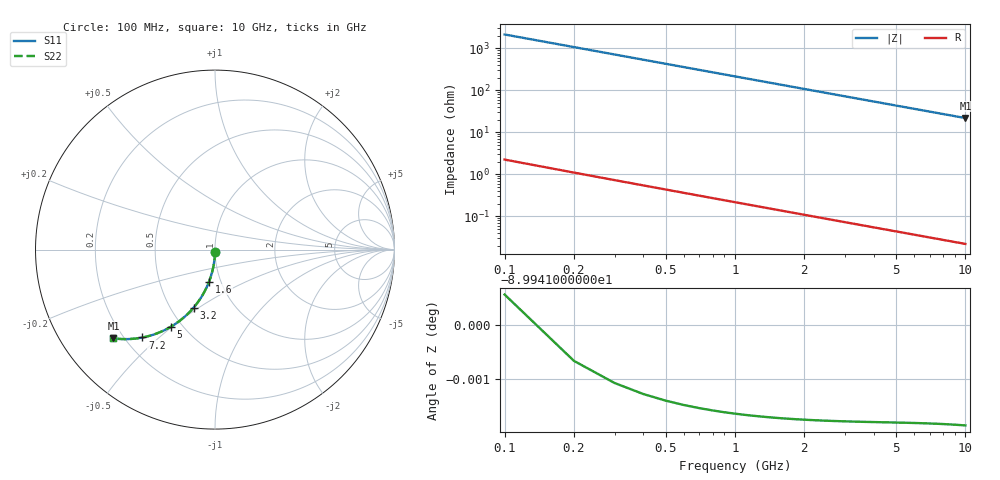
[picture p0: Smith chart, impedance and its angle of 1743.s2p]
# Hz S RI R 50.00
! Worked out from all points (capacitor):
!   100 points, 100 MHz to 10 GHz, reference 50 ohm
!   read as one part in shunt: C = 738 fF near 100 MHz
!   lowest |Z| = 21.9 ohm at 10 GHz (marker M1)
!   S11 on the Smith chart (normalised r, x): 100 MHz: 1.00, -0.02; 1.6 GHz: 0.88, -0.32; 3.2 GHz: 0.65, -0.48; 5 GHz: 0.43, -0.49; 7.2 GHz: 0.27, -0.44; 10 GHz: 0.16, -0.37
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1e8  -0.000145 -0.0116  0.9999 -0.0116  0.9999 -0.0116  -0.000145 -0.0116
2e8  -0.000558 -0.0231  0.9994 -0.0232  0.9994 -0.0232  -0.000558 -0.0231
3e8  -0.00124 -0.0347  0.9988 -0.0347  0.9988 -0.0347  -0.00124 -0.0347
4e8  -0.00219 -0.0462  0.9978 -0.0463  0.9978 -0.0463  -0.00219 -0.0462
5e8  -0.0034 -0.0577  0.9966 -0.0577  0.9966 -0.0577  -0.0034 -0.0577
6e8  -0.00487 -0.0691  0.9951 -0.0692  0.9951 -0.0692  -0.00487 -0.0691
7e8  -0.0066 -0.0804  0.9934 -0.0806  0.9934 -0.0806  -0.0066 -0.0804
9e8  -0.0108 -0.1029  0.9892 -0.1031  0.9892 -0.1031  -0.0108 -0.1029
1.2e9  -0.019 -0.136  0.981 -0.1362  0.981 -0.1362  -0.019 -0.136
1.6e9  -0.0332 -0.1786  0.9668 -0.1788  0.9668 -0.1788  -0.0332 -0.1786
1.8e9  -0.0416 -0.199  0.9584 -0.1993  0.9584 -0.1993  -0.0416 -0.199
2.4e9  -0.0714 -0.2567  0.9286 -0.2572  0.9286 -0.2572  -0.0714 -0.2567
2.8e9  -0.0945 -0.2918  0.9055 -0.2923  0.9055 -0.2923  -0.0945 -0.2918
3.2e9  -0.1197 -0.3239  0.8803 -0.3244  0.8803 -0.3244  -0.1197 -0.3239
3.4e9  -0.133 -0.3388  0.867 -0.3393  0.867 -0.3393  -0.133 -0.3388
4.2e9  -0.1891 -0.3907  0.8109 -0.3914  0.8109 -0.3914  -0.1891 -0.3907
5e9  -0.2478 -0.4308  0.7522 -0.4317  0.7522 -0.4317  -0.2478 -0.4308
5.1e9  -0.2552 -0.435  0.7448 -0.4359  0.7448 -0.4359  -0.2552 -0.435
6.7e9  -0.3704 -0.4818  0.6296 -0.483  0.6296 -0.483  -0.3704 -0.4818
7.2e9  -0.4042 -0.4896  0.5958 -0.4909  0.5958 -0.4909  -0.4042 -0.4896
8.4e9  -0.4794 -0.4983  0.5206 -0.4998  0.5206 -0.4998  -0.4794 -0.4983
1e10  -0.5655 -0.4943  0.4345 -0.4961  0.4345 -0.4961  -0.5655 -0.4943
